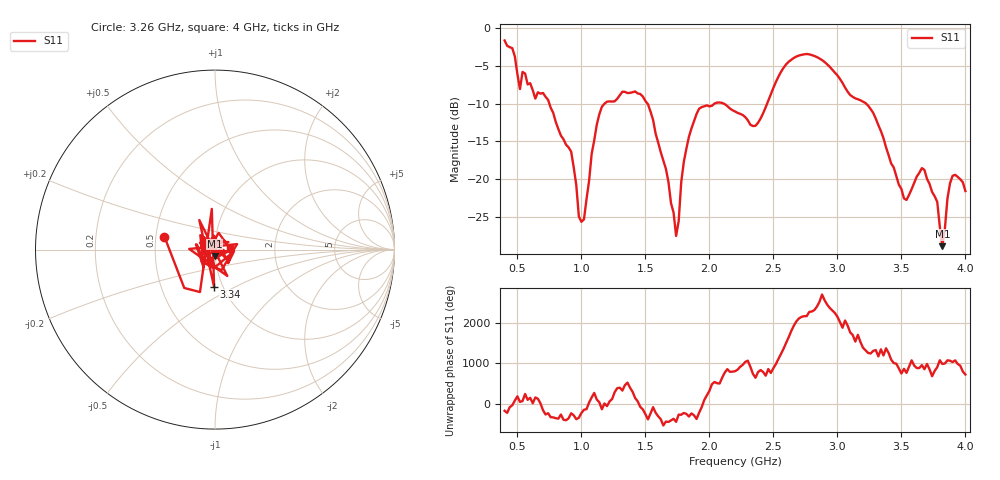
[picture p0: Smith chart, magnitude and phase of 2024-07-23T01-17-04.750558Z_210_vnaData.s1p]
!Created with skrf (http://scikit-rf.org).
# Hz S RI R 50.0
!freq ReS11 ImS11
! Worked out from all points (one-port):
!   181 points, 400 MHz to 4 GHz, reference 50 ohm
!   lowest |S11| = -28.9 dB at 3.82 GHz (marker M1), VSWR 1.07, Z = 49.6 - j3.56 ohm
!   |S11| at or under -10 dB: 749.3 MHz to 1.182 GHz (432.6 MHz wide, 44.8 % of centre); 1.516 GHz to 2.04 GHz (524.8 MHz wide, 29.5 % of centre); 3.223 GHz to end of sweep (the widest 3 of 4)
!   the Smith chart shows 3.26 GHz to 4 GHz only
!   S11 on the Smith chart (normalised r, x): 3.26 GHz: 0.56, +0.09; 3.34 GHz: 0.91, -0.39; 4 GHz: 1.18, +0.01
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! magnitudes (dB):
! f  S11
! 400 MHz  -1.6
! 460 MHz  -2.7
! 520 MHz  -8.1
! 540 MHz  -5.8
! 700 MHz  -8.6
! 860 MHz  -14.7
! 920 MHz  -16.4
! 1 GHz  -25.7
! 1.14 GHz  -11.4
! 1.3 GHz  -8.9
! 1.52 GHz  -10.1
! 1.66 GHz  -18.6
! 1.74 GHz  -27.5
! 1.76 GHz  -25.6
! 1.8 GHz  -17.7
! 1.92 GHz  -10.7
! 2.2 GHz  -11.1
! 2.36 GHz  -13.0
! 2.66 GHz  -4.0
! 3.1 GHz  -8.9
! 3.26 GHz  -10.7
! 3.34 GHz  -13.7
! 3.56 GHz  -22.1
! 3.68 GHz  -18.8
! 3.78 GHz  -23.0
! 3.82 GHz  -28.9
! 3.9 GHz  -19.6
! 4 GHz  -21.6
